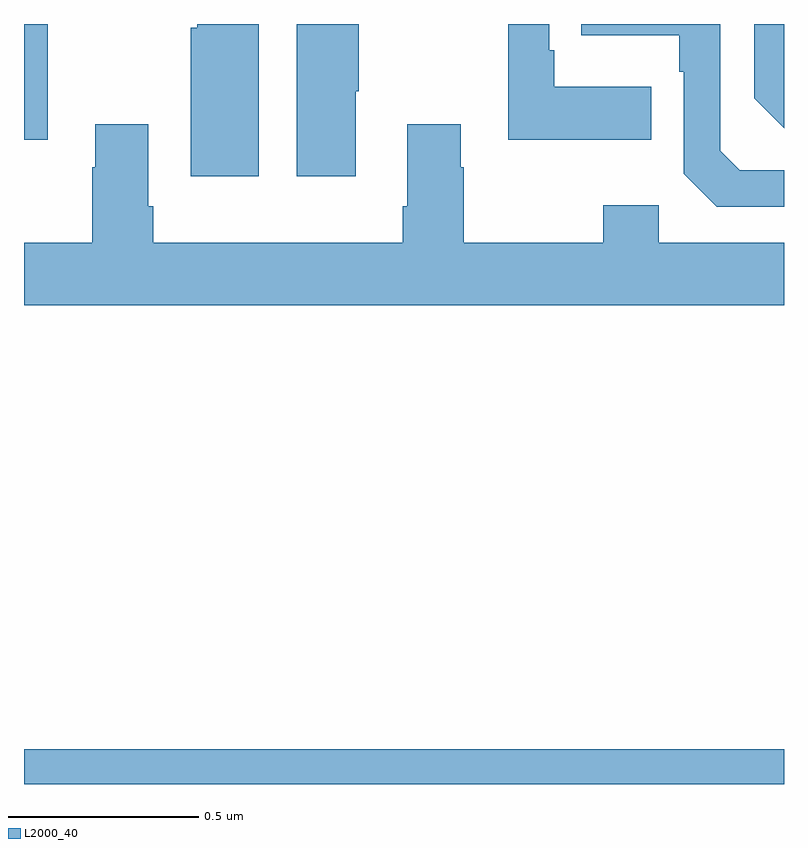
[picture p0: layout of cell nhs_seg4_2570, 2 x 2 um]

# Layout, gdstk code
import gdstk
lib = gdstk.Library(unit=1e-6, precision=1e-09)
def R(c, l, rs):  # rectangles x0, y0, x1, y1
    for r in rs: c.add(gdstk.rectangle(r[:2], r[2:], *l))
def P(c, l, *ps):  # polygons
    for p in ps: c.add(gdstk.Polygon(p, *l))
L2000_40 = (2000, 40)

nhs_seg4_2570 = lib.new_cell('nhs_seg4_2570')
R(nhs_seg4_2570, L2000_40, [(142,788.9,144,788.992), (142,790.595,142.063,790.9)])
P(nhs_seg4_2570, L2000_40, [(144,790.515),(143.883,790.515),(143.832,790.566),(143.832,790.9),(143.467,790.9),(143.467,790.871),(143.724,790.871),(143.724,790.775),(143.736,790.775),(143.736,790.506),(143.823,790.419),(144,790.419)],
  [(144,790.9),(143.922,790.9),(143.922,790.704),(144,790.626)],
  [(143.651,790.735),(143.395,790.735),(143.395,790.831),(143.382,790.831),(143.382,790.9),(143.274,790.9),(143.274,790.595),(143.651,790.595)],
  [(142.873,790.723),(142.881,790.723),(142.881,790.9),(142.718,790.9),(142.718,790.5),(142.873,790.5)],
  [(142.618,790.9),(142.456,790.9),(142.456,790.89),(142.439,790.89),(142.439,790.5),(142.618,790.5)],
  [(144,790.324),(143.67,790.324),(143.67,790.423),(143.524,790.423),(143.524,790.324),(143.157,790.324),(143.157,790.523),(143.149,790.523),(143.149,790.636),(143.009,790.636),(143.009,790.42),(142.997,790.42),(142.997,790.324),(142.34,790.324),(142.34,790.42),(142.327,790.42),(142.327,790.636),(142.187,790.636),(142.187,790.523),(142.18,790.523),(142.18,790.324),(142,790.324),(142,790.16),(144,790.16)])

lib.write_gds('nhs_seg4_2570.gds')
